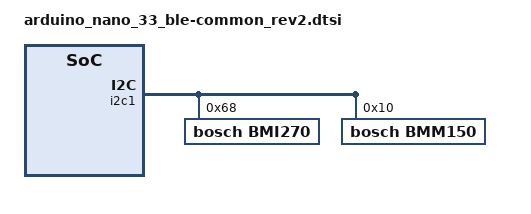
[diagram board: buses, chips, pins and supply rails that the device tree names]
/*
 * Copyright (c) 2026 Loic Domaigne
 *
 * SPDX-License-Identifier: Apache-2.0
 */

/ {
	aliases {
		accel0 = &bmi270;
	};
};

&i2c1 {
	bmi270: bmi270@68 {
		compatible = "bosch,bmi270";
		reg = <0x68>;
	};

	bmm150: bmm150@10 {
		compatible = "bosch,bmm150";
		reg = <0x10>;
	};
};
